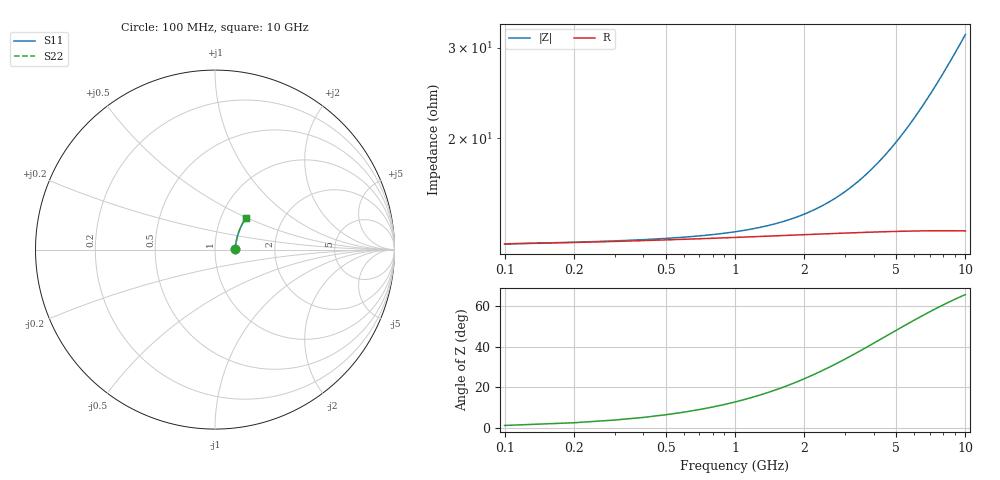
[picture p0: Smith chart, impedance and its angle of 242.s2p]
# Hz S RI R 50.00
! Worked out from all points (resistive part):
!   100 points, 100 MHz to 10 GHz, reference 50 ohm
!   read as one part in series: R = 12.4 ohm at 100 MHz
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1e8  0.1106 0.00193  0.8894 -0.00268  0.8894 -0.00268  0.1106 0.00193
2e8  0.1112 0.00386  0.8888 -0.00536  0.8888 -0.00536  0.1112 0.00386
3e8  0.1117 0.00579  0.8883 -0.00803  0.8883 -0.00803  0.1117 0.00579
8e8  0.1135 0.0154  0.8865 -0.0213  0.8865 -0.0213  0.1135 0.0154
1.1e9  0.1144 0.0211  0.8856 -0.0293  0.8856 -0.0293  0.1144 0.0211
1.4e9  0.1152 0.0268  0.8847 -0.0372  0.8847 -0.0372  0.1152 0.0268
1.8e9  0.1165 0.0344  0.8834 -0.0478  0.8834 -0.0478  0.1165 0.0344
2.1e9  0.1174 0.04  0.8824 -0.0557  0.8824 -0.0557  0.1174 0.04
2.5e9  0.1188 0.0475  0.881 -0.0662  0.881 -0.0662  0.1188 0.0475
2.9e9  0.1204 0.055  0.8794 -0.0767  0.8794 -0.0767  0.1204 0.055
3.4e9  0.1225 0.0643  0.8771 -0.0897  0.8771 -0.0897  0.1225 0.0643
4e9  0.1253 0.0753  0.8742 -0.1052  0.8742 -0.1052  0.1253 0.0753
5.1e9  0.1315 0.0951  0.8677 -0.1333  0.8677 -0.1333  0.1315 0.0951
6e9  0.1373 0.111  0.8616 -0.1558  0.8616 -0.1558  0.1373 0.111
6.7e9  0.1424 0.123  0.8562 -0.1731  0.8562 -0.1731  0.1424 0.123
7.2e9  0.1463 0.1315  0.8521 -0.1853  0.8521 -0.1853  0.1463 0.1315
7.6e9  0.1496 0.1381  0.8486 -0.195  0.8486 -0.195  0.1496 0.1381
8e9  0.1531 0.1447  0.845 -0.2045  0.845 -0.2045  0.1531 0.1447
8.4e9  0.1566 0.1511  0.8412 -0.214  0.8412 -0.214  0.1566 0.1511
8.8e9  0.1603 0.1575  0.8373 -0.2233  0.8373 -0.2233  0.1603 0.1575
9.2e9  0.1642 0.1637  0.8333 -0.2325  0.8333 -0.2325  0.1642 0.1637
1e10  0.1723 0.1758  0.8247 -0.2507  0.8247 -0.2507  0.1723 0.1758
